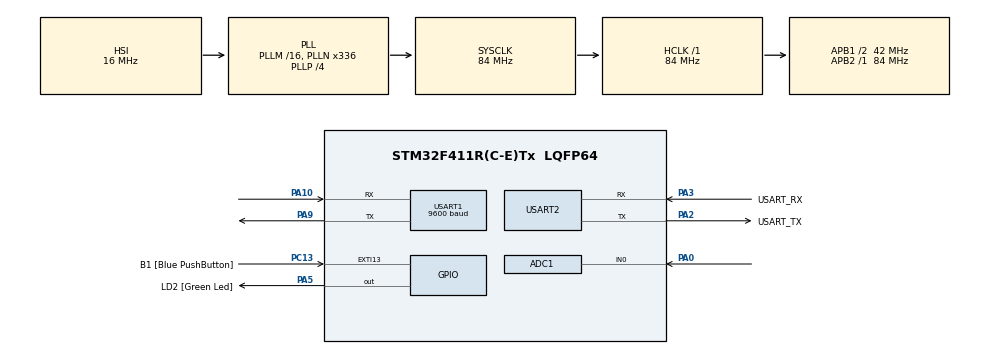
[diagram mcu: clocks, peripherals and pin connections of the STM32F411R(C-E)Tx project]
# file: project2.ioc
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ADC1.Channel-1\#ChannelRegularConversion=ADC_CHANNEL_0
ADC1.NbrOfConversionFlag=1
ADC1.Rank-1\#ChannelRegularConversion=1
ADC1.SamplingTime-1\#ChannelRegularConversion=ADC_SAMPLETIME_3CYCLES
ADC1.master=1
Mcu.Family=STM32F4
Mcu.Name=STM32F411R(C-E)Tx
Mcu.Package=LQFP64
NVIC.PriorityGroup=NVIC_PRIORITYGROUP_0
PA0-WKUP.Signal=ADCx_IN0
PA10.Mode=Asynchronous
PA10.Signal=USART1_RX
PA13.GPIO_Label=TMS
PA13.Mode=Serial_Wire
PA13.Signal=SYS_JTMS-SWDIO
PA14.GPIO_Label=TCK
PA14.Mode=Serial_Wire
PA14.Signal=SYS_JTCK-SWCLK
PA2.GPIO_Label=USART_TX
PA2.Mode=Asynchronous
PA2.Signal=USART2_TX
PA3.GPIO_Label=USART_RX
PA3.Mode=Asynchronous
PA3.Signal=USART2_RX
PA5.GPIO_Label=LD2 [Green Led]
PA5.Signal=GPIO_Output
PA9.Mode=Asynchronous
PA9.Signal=USART1_TX
PB3.GPIO_Label=SWO
PB3.Signal=SYS_JTDO-SWO
PC13-ANTI_TAMP.GPIO_Label=B1 [Blue PushButton]
PC13-ANTI_TAMP.GPIO_ModeDefaultEXTI=GPIO_MODE_IT_FALLING
PC13-ANTI_TAMP.Signal=GPXTI13
PC14-OSC32_IN.Mode=LSE-External-Oscillator
PC14-OSC32_IN.Signal=RCC_OSC32_IN
PC15-OSC32_OUT.Mode=LSE-External-Oscillator
PC15-OSC32_OUT.Signal=RCC_OSC32_OUT
PH0\ -\ OSC_IN.Mode=HSE-External-Clock-Source
PH0\ -\ OSC_IN.Signal=RCC_OSC_IN
PH1\ -\ OSC_OUT.Mode=HSE-External-Clock-Source
PH1\ -\ OSC_OUT.Signal=RCC_OSC_OUT
ProjectManager.HeapSize=0x200
ProjectManager.StackSize=0x400
ProjectManager.TargetToolchain=STM32CubeIDE
RCC.48MHZClocksFreq_Value=84000000
RCC.AHBFreq_Value=84000000
RCC.APB1CLKDivider=RCC_HCLK_DIV2
RCC.APB1Freq_Value=42000000
RCC.APB1TimFreq_Value=84000000
RCC.APB2Freq_Value=84000000
RCC.APB2TimFreq_Value=84000000
RCC.CortexFreq_Value=84000000
RCC.FLatency-AdvancedSettings=FLASH_LATENCY_2
RCC.HCLKFreq_Value=84000000
RCC.HSE_VALUE=8000000
RCC.HSI_VALUE=16000000
RCC.PLLN=336
RCC.PLLP=RCC_PLLP_DIV4
RCC.SYSCLKFreq_VALUE=84000000
RCC.SYSCLKSource=RCC_SYSCLKSOURCE_PLLCLK
RCC.VCOOutputFreq_Value=336000000
SH.ADCx_IN0.0=ADC1_IN0,IN0
TIM1.Prescaler=84-1
USART1.BaudRate=9600
USART1.VirtualMode=VM_ASYNC
USART2.VirtualMode=VM_ASYNC
VP_TIM1_VS_ClockSourceINT.Mode=Internal
board=NUCLEO-F411RE

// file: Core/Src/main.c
/* USER CODE BEGIN Header */
/**
  ******************************************************************************
  * @file           : main.c
  * @brief          : Main program body
  ******************************************************************************
  * @attention
  *
  * Copyright (c) 2023 STMicroelectronics.
  * All rights reserved.
  *
  * This software is licensed under terms that can be found in the LICENSE file
  * in the root directory of this software component.
  * If no LICENSE file comes with this software, it is provided AS-IS.
  *
  ******************************************************************************
  */
/* USER CODE END Header */
#include "main.h"

ADC_HandleTypeDef hadc1;

TIM_HandleTypeDef htim1;

UART_HandleTypeDef huart1;
UART_HandleTypeDef huart2;

void SystemClock_Config(void);
static void MX_GPIO_Init(void);
static void MX_USART2_UART_Init(void);
static void MX_TIM1_Init(void);
static void MX_ADC1_Init(void);
static void MX_USART1_UART_Init(void);

/* USER CODE BEGIN 0 */
uint8_t h_byte1, h_byte2, t_byte1, t_byte2;
uint16_t sum,h,t;
int temp;
int humid;
uint8_t pres = 0;
#define DHT11_PORT GPIOA
#define DHT11_PIN GPIO_PIN_4

void delay(uint16_t time){
	__HAL_TIM_SET_COUNTER(&htim1,0);
	while(__HAL_TIM_GET_COUNTER(&htim1) < time);
}

char str[10] = {0};

/*void Display_Rh (int Rh) {
	sprintf (str, "A%d\r\n", Rh);
	HAL_UART_Transmit(&huart2, str, strlen(str), 1000);
	HAL_UART_Transmit(&huart1, str, strlen(str), 1000);
}*/

void Set_Pin_Output(GPIO_TypeDef *GPIOx, uint16_t GPIO_Pin){
	GPIO_InitTypeDef GPIO_InitStruct = {0};
	GPIO_InitStruct.Pin = GPIO_Pin;
	GPIO_InitStruct.Mode = GPIO_MODE_OUTPUT_PP;
	GPIO_InitStruct.Speed = GPIO_SPEED_FREQ_LOW;
	HAL_GPIO_Init(GPIOx, &GPIO_InitStruct);
}

void Set_Pin_Input (GPIO_TypeDef *GPIOx, uint16_t GPIO_Pin){
	GPIO_InitTypeDef GPIO_InitStruct = {0};
	GPIO_InitStruct.Pin = GPIO_Pin;
	GPIO_InitStruct.Mode = GPIO_MODE_INPUT;
	GPIO_InitStruct.Pull = GPIO_PULLUP;
	HAL_GPIO_Init(GPIOx, &GPIO_InitStruct);
}

void DHT11_Start (void)
{
		Set_Pin_Output (DHT11_PORT, DHT11_PIN);  // set the pin as output
		HAL_GPIO_WritePin (DHT11_PORT, DHT11_PIN, 0);   // pull the pin low
		delay(18000);   // wait for 18ms
	    HAL_GPIO_WritePin (DHT11_PORT, DHT11_PIN, 1);   // pull the pin high
		delay (20);  // wait for 20us
		Set_Pin_Input(DHT11_PORT, DHT11_PIN);    // set as input
}

uint8_t Check_Response (void)
{
	uint8_t Response = 0;
	delay (40);
	if (!(HAL_GPIO_ReadPin (DHT11_PORT, DHT11_PIN)))
	{
		delay (80);
		if ((HAL_GPIO_ReadPin (DHT11_PORT, DHT11_PIN))) Response = 1;
		else Response = -1;
	}
	while ((HAL_GPIO_ReadPin (DHT11_PORT, DHT11_PIN)));   // wait for the pin to go low

	return Response;
}

uint8_t DHT11_Read (void)
{
	uint8_t i,j;
	for (j=0;j<8;j++)
	{
		while (!(HAL_GPIO_ReadPin (DHT11_PORT, DHT11_PIN)));   // wait for the pin to go high
		delay (40);   // wait for 40 us
		if (!(HAL_GPIO_ReadPin (DHT11_PORT, DHT11_PIN)))   // if the pin is low
		{
			i&= ~(1<<(7-j));   // write 0
		}
		else i|= (1<<(7-j));  // if the pin is high, write 1
		while ((HAL_GPIO_ReadPin (DHT11_PORT, DHT11_PIN)));  // wait for the pin to go low
	}
	return i;
}

/*int isGoingToRain(int temperature, int humidity) {
    // Check the temperature and humidity thresholds for rain
    if (temperature > 25 && humidity > 70) {
        return 1;  // High possibility of rain
    } else {
        return 0;  // Low possibility of rain
    }
}*/

/* USER CODE END 0 */

int main(void)
{

  /* MCU Configuration--------------------------------------------------------*/

  /* Reset of all peripherals, Initializes the Flash interface and the Systick. */
  HAL_Init();

  /* Configure the system clock */
  SystemClock_Config();

  /* Initialize all configured peripherals */
  MX_GPIO_Init();
  MX_USART2_UART_Init();
  MX_TIM1_Init();
  MX_ADC1_Init();
  MX_USART1_UART_Init();
  /* USER CODE BEGIN 2 */

  HAL_TIM_Base_Start_IT(&htim1);
  /* USER CODE END 2 */

  /* Infinite loop */
  while (1)
  {

    /* USER CODE BEGIN 3 */
	  char buffer[50];
	  int adcval = 0;
	  //int cloudy_treshold = 1000;
	  HAL_ADC_Start(&hadc1);
	  if(HAL_ADC_PollForConversion(&hadc1,1000000)==HAL_OK){
		  adcval = HAL_ADC_GetValue(&hadc1);
	   	  //char buffer1[20];
	  	  //sprintf(buffer1, "L%d\r\n", adcval);
	  	  //HAL_UART_Transmit(&huart2, &buffer1, strlen(buffer1), HAL_MAX_DELAY);
	  }

	  	DHT11_Start(); // ok
	  	pres = Check_Response();
	  	h_byte1 = DHT11_Read(); // problem infiite loop
	  	h_byte2 = DHT11_Read();
	  	t_byte1 = DHT11_Read();
	  	t_byte2 = DHT11_Read();
	  	sum = DHT11_Read();

	  	temp = t_byte1;
	  	humid = h_byte1;
	  	sprintf(buffer, "L%dT%dH%d \r\n",adcval,temp,humid);
	  	HAL_UART_Transmit(&huart2, &buffer, strlen(buffer), HAL_MAX_DELAY);
	  	HAL_UART_Transmit(&huart1, &buffer, strlen(buffer), HAL_MAX_DELAY);
	  	HAL_Delay(1000);

	  	/*int a = 1;
	  	int b = 2;
	  	int c = 0;
	  	if (isGoingToRain(temp,humid) == 1){
	  		HAL_UART_Transmit(&huart1, &a, sizeof(a), 2000);
	  		HAL_UART_Transmit(&huart2, "y", 1, 2000);
	  	}
	  	else if (adcval < 300){
	  		HAL_UART_Transmit(&huart1, &b, sizeof(b), 2000);
	  	}else{
	  		HAL_UART_Transmit(&huart1, &c, sizeof(c), 2000);
	  	}*/

  }
  /* USER CODE END 3 */
}

void SystemClock_Config(void)
{
  RCC_OscInitTypeDef RCC_OscInitStruct = {0};
  RCC_ClkInitTypeDef RCC_ClkInitStruct = {0};

  /** Configure the main internal regulator output voltage
  */
  __HAL_RCC_PWR_CLK_ENABLE();
  __HAL_PWR_VOLTAGESCALING_CONFIG(PWR_REGULATOR_VOLTAGE_SCALE1);

  /** Initializes the RCC Oscillators according to the specified parameters
  * in the RCC_OscInitTypeDef structure.
  */
  RCC_OscInitStruct.OscillatorType = RCC_OSCILLATORTYPE_HSI;
  RCC_OscInitStruct.HSIState = RCC_HSI_ON;
  RCC_OscInitStruct.HSICalibrationValue = RCC_HSICALIBRATION_DEFAULT;
  RCC_OscInitStruct.PLL.PLLState = RCC_PLL_ON;
  RCC_OscInitStruct.PLL.PLLSource = RCC_PLLSOURCE_HSI;
  RCC_OscInitStruct.PLL.PLLM = 16;
  RCC_OscInitStruct.PLL.PLLN = 336;
  RCC_OscInitStruct.PLL.PLLP = RCC_PLLP_DIV4;
  RCC_OscInitStruct.PLL.PLLQ = 4;
  if (HAL_RCC_OscConfig(&RCC_OscInitStruct) != HAL_OK)
  {
    Error_Handler();
  }

  /** Initializes the CPU, AHB and APB buses clocks
  */
  RCC_ClkInitStruct.ClockType = RCC_CLOCKTYPE_HCLK|RCC_CLOCKTYPE_SYSCLK
                              |RCC_CLOCKTYPE_PCLK1|RCC_CLOCKTYPE_PCLK2;
  RCC_ClkInitStruct.SYSCLKSource = RCC_SYSCLKSOURCE_PLLCLK;
  RCC_ClkInitStruct.AHBCLKDivider = RCC_SYSCLK_DIV1;
  RCC_ClkInitStruct.APB1CLKDivider = RCC_HCLK_DIV2;
  RCC_ClkInitStruct.APB2CLKDivider = RCC_HCLK_DIV1;

  if (HAL_RCC_ClockConfig(&RCC_ClkInitStruct, FLASH_LATENCY_2) != HAL_OK)
  {
    Error_Handler();
  }
}

static void MX_ADC1_Init(void)
{

  ADC_ChannelConfTypeDef sConfig = {0};

  /** Configure the global features of the ADC (Clock, Resolution, Data Alignment and number of conversion)
  */
  hadc1.Instance = ADC1;
  hadc1.Init.ClockPrescaler = ADC_CLOCK_SYNC_PCLK_DIV4;
  hadc1.Init.Resolution = ADC_RESOLUTION_12B;
  hadc1.Init.ScanConvMode = DISABLE;
  hadc1.Init.ContinuousConvMode = DISABLE;
  hadc1.Init.DiscontinuousConvMode = DISABLE;
  hadc1.Init.ExternalTrigConvEdge = ADC_EXTERNALTRIGCONVEDGE_NONE;
  hadc1.Init.ExternalTrigConv = ADC_SOFTWARE_START;
  hadc1.Init.DataAlign = ADC_DATAALIGN_RIGHT;
  hadc1.Init.NbrOfConversion = 1;
  hadc1.Init.DMAContinuousRequests = DISABLE;
  hadc1.Init.EOCSelection = ADC_EOC_SINGLE_CONV;
  if (HAL_ADC_Init(&hadc1) != HAL_OK)
  {
    Error_Handler();
  }

  /** Configure for the selected ADC regular channel its corresponding rank in the sequencer and its sample time.
  */
  sConfig.Channel = ADC_CHANNEL_0;
  sConfig.Rank = 1;
  sConfig.SamplingTime = ADC_SAMPLETIME_3CYCLES;
  if (HAL_ADC_ConfigChannel(&hadc1, &sConfig) != HAL_OK)
  {
    Error_Handler();
  }

}

static void MX_TIM1_Init(void)
{

  TIM_ClockConfigTypeDef sClockSourceConfig = {0};
  TIM_MasterConfigTypeDef sMasterConfig = {0};

  htim1.Instance = TIM1;
  htim1.Init.Prescaler = 84-1;
  htim1.Init.CounterMode = TIM_COUNTERMODE_UP;
  htim1.Init.Period = 65535;
  htim1.Init.ClockDivision = TIM_CLOCKDIVISION_DIV1;
  htim1.Init.RepetitionCounter = 0;
  htim1.Init.AutoReloadPreload = TIM_AUTORELOAD_PRELOAD_DISABLE;
  if (HAL_TIM_Base_Init(&htim1) != HAL_OK)
  {
    Error_Handler();
  }
  sClockSourceConfig.ClockSource = TIM_CLOCKSOURCE_INTERNAL;
  if (HAL_TIM_ConfigClockSource(&htim1, &sClockSourceConfig) != HAL_OK)
  {
    Error_Handler();
  }
  sMasterConfig.MasterOutputTrigger = TIM_TRGO_RESET;
  sMasterConfig.MasterSlaveMode = TIM_MASTERSLAVEMODE_DISABLE;
  if (HAL_TIMEx_MasterConfigSynchronization(&htim1, &sMasterConfig) != HAL_OK)
  {
    Error_Handler();
  }

}

static void MX_USART1_UART_Init(void)
{

  huart1.Instance = USART1;
  huart1.Init.BaudRate = 9600;
  huart1.Init.WordLength = UART_WORDLENGTH_8B;
  huart1.Init.StopBits = UART_STOPBITS_1;
  huart1.Init.Parity = UART_PARITY_NONE;
  huart1.Init.Mode = UART_MODE_TX_RX;
  huart1.Init.HwFlowCtl = UART_HWCONTROL_NONE;
  huart1.Init.OverSampling = UART_OVERSAMPLING_16;
  if (HAL_UART_Init(&huart1) != HAL_OK)
  {
    Error_Handler();
  }

}

static void MX_USART2_UART_Init(void)
{

  huart2.Instance = USART2;
  huart2.Init.BaudRate = 115200;
  huart2.Init.WordLength = UART_WORDLENGTH_8B;
  huart2.Init.StopBits = UART_STOPBITS_1;
  huart2.Init.Parity = UART_PARITY_NONE;
  huart2.Init.Mode = UART_MODE_TX_RX;
  huart2.Init.HwFlowCtl = UART_HWCONTROL_NONE;
  huart2.Init.OverSampling = UART_OVERSAMPLING_16;
  if (HAL_UART_Init(&huart2) != HAL_OK)
  {
    Error_Handler();
  }

}

static void MX_GPIO_Init(void)
{
  GPIO_InitTypeDef GPIO_InitStruct = {0};

  /* GPIO Ports Clock Enable */
  __HAL_RCC_GPIOC_CLK_ENABLE();
  __HAL_RCC_GPIOH_CLK_ENABLE();
  __HAL_RCC_GPIOA_CLK_ENABLE();
  __HAL_RCC_GPIOB_CLK_ENABLE();

  /*Configure GPIO pin Output Level */
  HAL_GPIO_WritePin(LD2_GPIO_Port, LD2_Pin, GPIO_PIN_RESET);

  /*Configure GPIO pin : B1_Pin */
  GPIO_InitStruct.Pin = B1_Pin;
  GPIO_InitStruct.Mode = GPIO_MODE_IT_FALLING;
  GPIO_InitStruct.Pull = GPIO_NOPULL;
  HAL_GPIO_Init(B1_GPIO_Port, &GPIO_InitStruct);

  /*Configure GPIO pin : LD2_Pin */
  GPIO_InitStruct.Pin = LD2_Pin;
  GPIO_InitStruct.Mode = GPIO_MODE_OUTPUT_PP;
  GPIO_InitStruct.Pull = GPIO_NOPULL;
  GPIO_InitStruct.Speed = GPIO_SPEED_FREQ_LOW;
  HAL_GPIO_Init(LD2_GPIO_Port, &GPIO_InitStruct);

}

void Error_Handler(void)
{
  __disable_irq();
  while (1)
  {
  }
}
